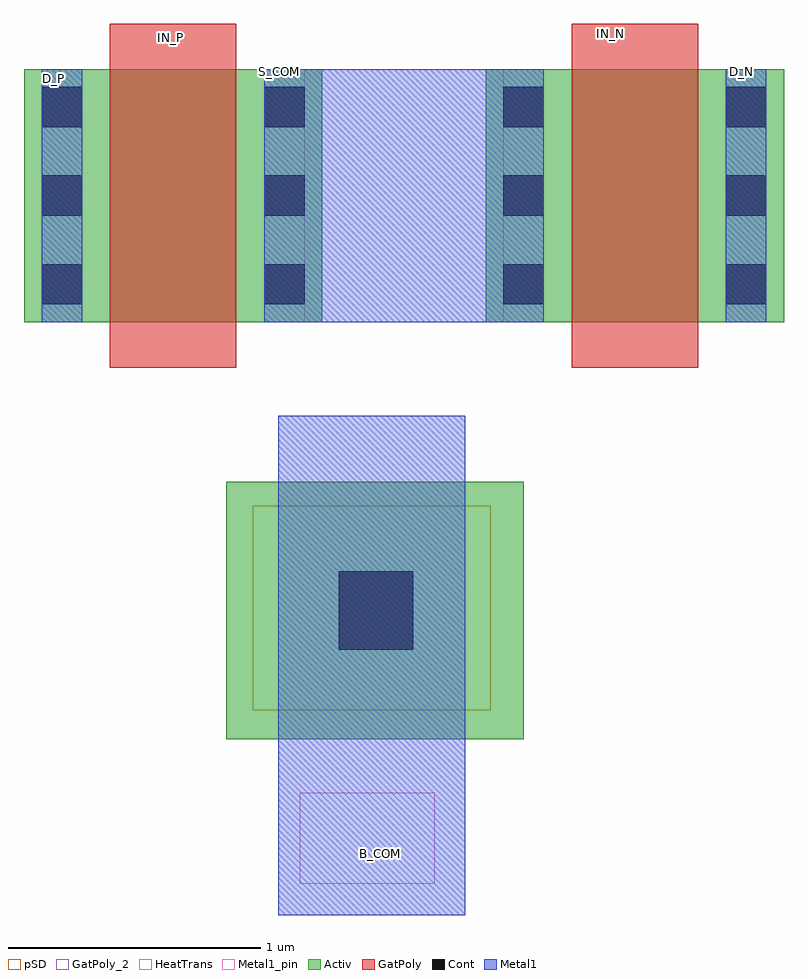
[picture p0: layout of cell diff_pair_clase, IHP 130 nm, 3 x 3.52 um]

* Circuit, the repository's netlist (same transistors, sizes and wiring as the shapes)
* Extracted by KLayout with SG13G2 LVS runset on : 19/11/2026 15:45

.SUBCKT TOP
M$1 \$2 \$5 \$3 \$1 sg13_lv_nmos L=0.5u W=1u AS=0.34p AD=0.34p PS=2.68u
+ PD=2.68u rfmode=0
M$2 \$3 \$6 \$4 \$1 sg13_lv_nmos L=0.5u W=1u AS=0.34p AD=0.34p PS=2.68u
+ PD=2.68u rfmode=0
.ENDS TOP

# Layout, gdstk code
import gdstk
lib = gdstk.Library(unit=1e-6, precision=1e-09)
def R(c, l, rs):  # rectangles x0, y0, x1, y1
    for r in rs: c.add(gdstk.rectangle(r[:2], r[2:], *l))
def A(c, l, x, y, w, h, nx, ny, dx, dy):  # array of equal rectangles
    R(c, l, [(x+i*dx, y+j*dy, x+i*dx+w, y+j*dy+h) for i in range(nx) for j in range(ny)])
Activ = (1, 0)
GatPoly = (5, 0)
GatPoly_2 = (5, 2)
Cont = (6, 0)
Metal1 = (8, 0)
Metal1_pin = (8, 2)
pSD = (14, 0)
HeatTrans = (51, 0)

nmos_1 = lib.new_cell('nmos$1')
R(nmos_1, Activ, [(0,0,0.3,0.3), (0,0,1.18,1), (0.88,0,1.18,0.3)])
R(nmos_1, GatPoly, [(0.34,-0.18,0.84,1.18)])
R(nmos_1, GatPoly_2, [(0.34,-0.18,0.84,1.18)])
A(nmos_1, Cont, 0.07, 0.07, 0.16, 0.16, 1, 3, 0, 0.35)
A(nmos_1, Cont, 0.95, 0.07, 0.16, 0.16, 1, 3, 0, 0.35)
R(nmos_1, Metal1, [(0.07,0,0.23,1), (0.95,0,1.11,1)])
R(nmos_1, Metal1_pin, [(0.07,0,0.23,1), (0.95,0,1.11,1)])
R(nmos_1, HeatTrans, [(0.34,-0.18,0.84,1.18)])
nmos_1.add(gdstk.Label('nmos', (0.59,0.5), layer=63, texttype=0))
nmos_1.add(gdstk.Label('nmos', (0.59,0.5), layer=51, texttype=0))

diff_pair_clase = lib.new_cell('diff_pair_clase')
R(diff_pair_clase, Activ, [(-0.125,-1.63,1.05,-0.61)])
R(diff_pair_clase, Cont, [(0.32,-1.275,0.615,-0.965)])
R(diff_pair_clase, Metal1, [(0.08,-2.325,0.82,-0.35), (0.185,0.02,0.97,1.02)])
R(diff_pair_clase, Metal1_pin, [(0.165,-2.2,0.7,-1.84)])
R(diff_pair_clase, pSD, [(-0.02,-1.515,0.92,-0.705)])
diff_pair_clase.add(gdstk.Reference(nmos_1, (-0.925,0.02)))
diff_pair_clase.add(gdstk.Reference(nmos_1, (0.9,0.02)))
diff_pair_clase.add(gdstk.Label('D_P', (-0.81,0.985), layer=8, texttype=2))
diff_pair_clase.add(gdstk.Label('D_N', (1.91,1.01), layer=8, texttype=2))
diff_pair_clase.add(gdstk.Label('S_COM', (0.085,1.01), layer=8, texttype=2))
diff_pair_clase.add(gdstk.Label('B_COM', (0.485,-2.08), layer=8, texttype=2))
diff_pair_clase.add(gdstk.Label('IN_P', (-0.345,1.145), layer=5, texttype=2))
diff_pair_clase.add(gdstk.Label('IN_N', (1.395,1.16), layer=5, texttype=2))

lib.write_gds('diff_pair_clase.gds')
